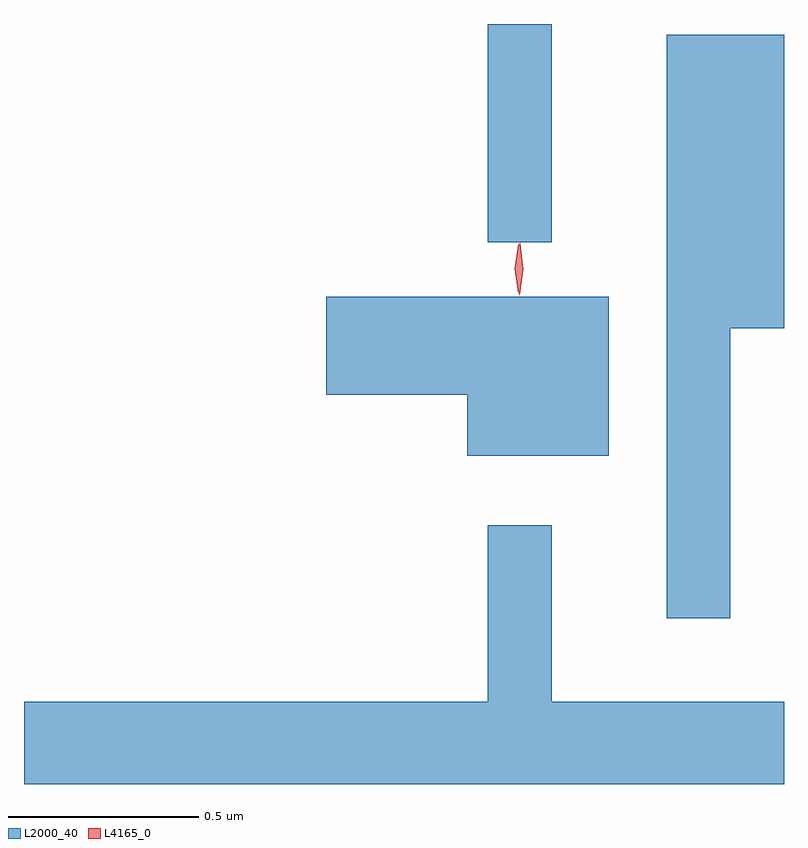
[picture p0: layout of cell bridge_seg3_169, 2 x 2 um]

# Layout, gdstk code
import gdstk
lib = gdstk.Library(unit=1e-6, precision=1e-09)
def R(c, l, rs):  # rectangles x0, y0, x1, y1
    for r in rs: c.add(gdstk.rectangle(r[:2], r[2:], *l))
def P(c, l, *ps):  # polygons
    for p in ps: c.add(gdstk.Polygon(p, *l))
L2000_40 = (2000, 40)
L4165_0 = (4165, 0)

bridge_seg3_169 = lib.new_cell('bridge_seg3_169')
R(bridge_seg3_169, L2000_40, [(759.621,1189.653,759.789,1190.227)])
P(bridge_seg3_169, L2000_40, [(760.259,1189.426),(760.4,1189.426),(760.4,1190.199),(760.091,1190.199),(760.091,1188.663),(760.259,1188.663)],
  [(759.939,1189.509),(759.196,1189.509),(759.196,1189.251),(759.566,1189.251),(759.566,1189.091),(759.939,1189.091)],
  [(760.4,1188.444),(759.789,1188.444),(759.789,1188.908),(759.621,1188.908),(759.621,1188.444),(758.4,1188.444),(758.4,1188.227),(760.4,1188.227)])
P(bridge_seg3_169, L4165_0, [(759.703,1189.514),(759.703,1189.514),(759.694,1189.582),(759.704,1189.65),(759.705,1189.65),(759.706,1189.65),(759.714,1189.582),(759.704,1189.514)],
  [(759.701,1189.52),(759.692,1189.583),(759.701,1189.646),(759.702,1189.647),(759.702,1189.646),(759.712,1189.583),(759.702,1189.52),(759.702,1189.52)])

lib.write_gds('bridge_seg3_169.gds')
